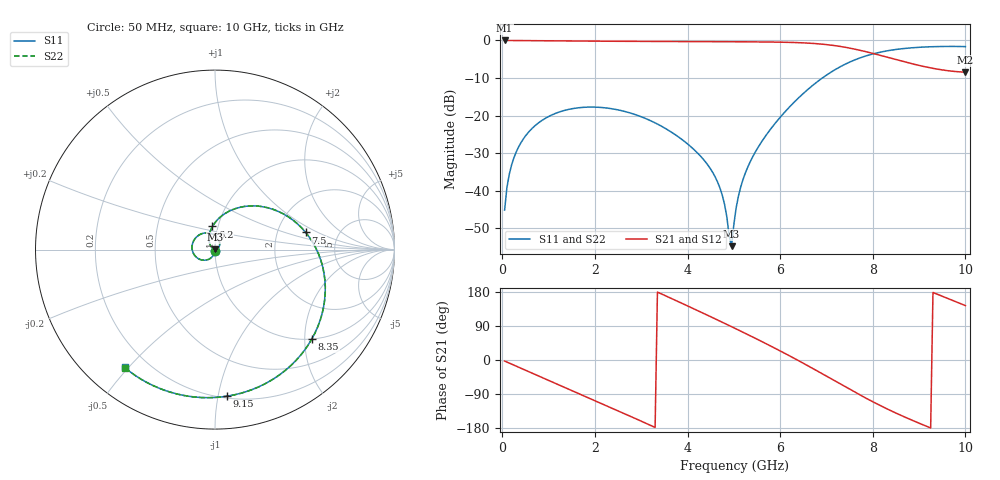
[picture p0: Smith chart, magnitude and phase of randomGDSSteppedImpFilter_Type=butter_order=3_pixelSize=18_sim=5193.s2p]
! freq	dB(S11)	phase(S11)	dB(S12)	phase(S12)
!  dB(S21)	phase(S21)	dB(S22)	phase(S22)
!S-par simulation data
#  GHz  S  DB  R 50
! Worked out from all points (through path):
!   200 points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, 50 MHz to 10 GHz, reference 50 ohm
!   highest |S21| = 0.00 dB at 50 MHz (marker M1); lowest = -8.5 dB at 10 GHz (marker M2)
!   group delay of S21, straight-line fit = 164 ps
!   lowest |S11| = -54.8 dB at 4.95 GHz (marker M3), VSWR 1.00, Z = 50 + j0.178 ohm
!   |S11| at or under -10 dB: start of sweep to 6.912 GHz
!   |S22| runs from -53.9 to -1.6 dB; largest |S21 - S12| = 0
!   S11 on the Smith chart (normalised r, x): 50 MHz: 1.00, -0.01; 6.2 GHz: 0.94, +0.25; 7.5 GHz: 2.90, +0.75; 8.35 GHz: 1.00, -2.16; 9.15 GHz: 0.21, -1.06; 10 GHz: 0.12, -0.49
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0.05  -45.21 -91.9  -0.00 -2.7  -0.00 -2.7  -45.21 -91.9
0.1  -39.20 -95.0  -0.01 -5.5  -0.01 -5.5  -39.20 -95.0
0.2  -33.20 -100.5  -0.02 -10.8  -0.02 -10.8  -33.20 -100.6
0.5  -25.46 -116.9  -0.05 -27.0  -0.05 -27.0  -25.46 -116.9
1.15  -19.43 -152.4  -0.12 -61.7  -0.12 -61.7  -19.43 -152.5
1.75  -17.82 175.2  -0.18 -93.7  -0.18 -93.7  -17.82 175.1
2.65  -18.94 126.6  -0.22 -142.2  -0.22 -142.2  -18.94 126.6
3.4  -22.61 84.9  -0.25 176.5  -0.25 176.5  -22.60 84.9
3.95  -27.06 53.9  -0.28 145.6  -0.28 145.6  -27.06 54.0
4.55  -35.31 21.8  -0.32 111.3  -0.32 111.3  -35.30 22.3
4.75  -41.22 15.4  -0.33 99.7  -0.33 99.7  -41.18 16.6
4.95  -54.82 101.8  -0.34 88.0  -0.34 88.0  -53.89 99.7
5.05  -44.60 149.6  -0.35 82.1  -0.35 82.1  -44.50 147.5
5.2  -36.98 150.5  -0.36 73.1  -0.36 73.1  -36.96 149.5
5.4  -31.18 142.0  -0.38 61.1  -0.38 61.1  -31.17 141.5
6.2  -17.75 96.3  -0.51 11.2  -0.51 11.2  -17.76 96.2
6.7  -12.01 64.4  -0.78 -22.0  -0.78 -22.0  -12.01 64.5
7.1  -8.44 37.7  -1.25 -49.6  -1.25 -49.6  -8.44 37.8
7.5  -5.78 10.7  -2.04 -77.2  -2.04 -77.2  -5.78 10.8
8.35  -2.69 -42.7  -4.60 -131.4  -4.60 -131.4  -2.69 -42.5
9.15  -1.73 -85.4  -7.07 -174.4  -7.07 -174.4  -1.73 -85.1
10  -1.64 -127.5  -8.45 143.6  -8.45 143.6  -1.64 -127.2
